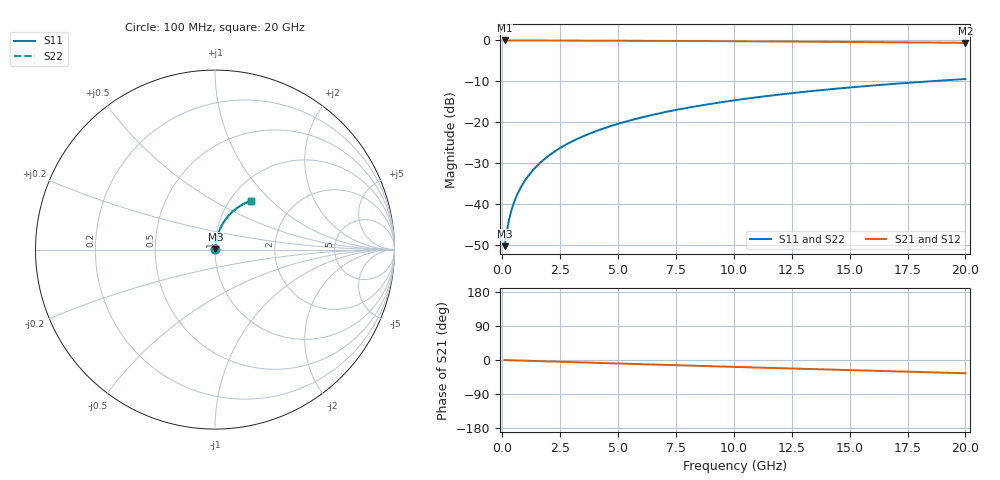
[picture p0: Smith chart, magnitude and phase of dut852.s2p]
! Touchstone file exported from HFSS 2026.1.0
!  File:  C:/ffzhzh/LocalFiles/Ansys_Project_Files/temp_train_BSMRDL_852_1783170573_22436.aedt
!  Generated:  09:10:50 PM Jul  4, 2026
!  Design:  BSMRDL
!  Project:  temp_train_BSMRDL_852_1783170573_22436
! Variables:
!  h_bsmrdl = 3.37um
!  h_ox = 20um
!  h_rdl = 5um
!  h_sub = 80um
!  h_tmrdl = 5um
!  h_tsv = 80um
!  h_via = 3um
!  l_bsmrdl = 477.72um
!  l_sub = 877.72um
!  l_tmrdl = 200um
!  m_sub = 200um
!  pitch = 55.68um
!  r_tsv = 6um
!  s_tmrdl = 10um
!  w_bsmrdl = 25.31um
!  w_sub = 500um
!  w_tmrdl = 12um
!  x_tsv_center1 = 206um
!  x_tsv_center2 = 709.03um
!  x_tsv_center3 = 921.03um
!  x_tsv_center4 = 1424.06um
!  x_tsv_center5 = 1636.06um
!  x_tsv_center6 = 2139.09um
# GHz S MA R 50.000000
! Terminal data exported
! Port[1] = BSM_RDL1_1_T1
! Port[2] = BSM_RDL1_1_T2
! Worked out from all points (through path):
!   200 points, 100 MHz to 20 GHz, reference 50 ohm
!   highest |S21| = -0.02 dB at 100 MHz (marker M1); lowest = -0.6 dB at 20 GHz (marker M2)
!   group delay of S21, straight-line fit = 4.85 ps
!   lowest |S11| = -50.3 dB at 100 MHz (marker M3), VSWR 1.01, Z = 50.2 + j0.212 ohm
!   |S11| at or under -10 dB: start of sweep to 18.45 GHz
!   |S22| runs from -50.3 to -9.4 dB; largest |S21 - S12| = 2.6e-15
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0.1  0.003072 43.5  0.9978 -0.2  0.9978 -0.2  0.003072 43.5
! Gamma 0 0 0 0
! Port Impedance 50 0 50 0
0.2  0.004791 60.4  0.9977 -0.4  0.9977 -0.4  0.004791 60.4
0.3  0.006645 67.7  0.9975 -0.6  0.9975 -0.6  0.006645 67.7
0.4  0.008515 71.7  0.9974 -0.8  0.9974 -0.8  0.008515 71.7
0.5  0.01039 74.3  0.9973 -0.9  0.9973 -0.9  0.01039 74.3
0.6  0.01227 76.1  0.9972 -1.1  0.9972 -1.1  0.01227 76.1
0.8  0.01604 78.5  0.9971 -1.5  0.9971 -1.5  0.01604 78.5
1.1  0.02175 80.3  0.9969 -2.1  0.9969 -2.1  0.02175 80.4
1.5  0.02941 81.4  0.9966 -2.8  0.9966 -2.8  0.02941 81.4
1.8  0.03516 81.7  0.9964 -3.4  0.9964 -3.4  0.03516 81.7
2.1  0.04091 81.7  0.9961 -3.9  0.9961 -3.9  0.04091 81.7
2.7  0.0524 81.4  0.9954 -5.0  0.9954 -5.0  0.0524 81.4
3.5  0.06763 80.5  0.9942 -6.5  0.9942 -6.5  0.06763 80.5
4.2  0.08085 79.5  0.9929 -7.8  0.9929 -7.8  0.08085 79.5
5  0.09581 78.3  0.9913 -9.2  0.9913 -9.2  0.09581 78.3
5.9  0.1124 76.8  0.9891 -10.9  0.9891 -10.9  0.1124 76.8
6.8  0.1288 75.3  0.9868 -12.5  0.9868 -12.5  0.1288 75.3
8.3  0.1556 72.8  0.9823 -15.2  0.9823 -15.2  0.1556 72.8
10.1  0.1868 69.8  0.9762 -18.3  0.9762 -18.3  0.1868 69.8
13.4  0.2411 64.3  0.9634 -24.0  0.9634 -24.0  0.2411 64.3
16.7  0.2914 58.9  0.9488 -29.6  0.9488 -29.6  0.2914 58.9
20  0.3373 53.7  0.9331 -34.9  0.9331 -34.9  0.3373 53.7
